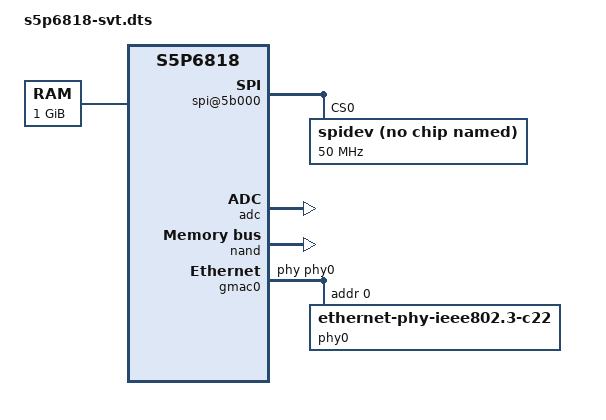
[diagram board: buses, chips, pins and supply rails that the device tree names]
/*
 * s5p6818.dtsi - Device Tree Include file for SLsiAp SoC
 *
 * Copyright 2009 Nexell Co.
 *		http://www.nexell.co.kr
 *
 * Licensed under GPLv2 or later.
 */

#include "s5p6818.dtsi"

#define	UART_CLOCK_FREQUENCY	147500000
#define I2C_CLOCK_FREQUENCY		100000000
#define SPI_CLOCK_FREQUENCY		100000000
#define GMAC_CLOCK_FREQUENCY	200000000

/ {
	memory {
		reg = <0x40000000 0x40000000>;
	};

	soc {

		clocks {
			uart0:uart@a9000 { clock-frequency = <UART_CLOCK_FREQUENCY>; };
			uart1:uart@a8000 { clock-frequency = <UART_CLOCK_FREQUENCY>; };
			uart2:uart@aa000 { clock-frequency = <UART_CLOCK_FREQUENCY>; };
			uart3:uart@ab000 { clock-frequency = <UART_CLOCK_FREQUENCY>; };
			uart4:uart@6e000 { clock-frequency = <UART_CLOCK_FREQUENCY>; };
			uart5:uart@84000 { clock-frequency = <UART_CLOCK_FREQUENCY>; };
			i2c0:i2c@ae000 { clock-frequency = <I2C_CLOCK_FREQUENCY>; };
			i2c1:i2c@af000 { clock-frequency = <I2C_CLOCK_FREQUENCY>; };
			i2c2:i2c@b0000 { clock-frequency = <I2C_CLOCK_FREQUENCY>; };
			spi0:spi@ac000 { clock-frequency = <SPI_CLOCK_FREQUENCY>; };
			spi1:spi@ad000 { clock-frequency = <SPI_CLOCK_FREQUENCY>; };
			spi2:spi@a7000 { clock-frequency = <SPI_CLOCK_FREQUENCY>; };
			gmac:gmac@c8000  { clock-frequency = <GMAC_CLOCK_FREQUENCY>; };
		};

		#include "s5p6818-svt-pin.dtsi"

		serial@a1000 {
			enable_dma = <1>;
		};

		serial@a0000 {
			enable_dma = <1>;
		};
		
		spi@5b000 {
			num_cs = <1>;
			clk_nr = <0>;
			
			
			spidev@0 {
				compatible = "spidev";
				reg = <0 0>;							
				spi-max-frequency = < 50000000 >;
				controller-data {
					spi-cs-gpio = <10>;
					spi-feedback-delay = <02>;
				};
			};
				
		};
		spi@5c000 {
			num_cs = <1>;
			clk_nr = <0>;
		};
		spi@5f000 {
			num_cs = <1>;
			clk_nr = <0>;
		};

		rtc@10c00 {
			status = "okay";
		};

		wdt@19000 {
			status = "okay";
		};

		ppm@54000 {
			status = "okay";
		};

		adc:adc@53000 {
			status = "okay";
		};

		nand:nand@51000 {
			nand-bus-width = <8>;
			nand-ecc-mode = "hw";
			/*nand-on-flash-bbt = <1>;*/

			nand-tacs = <0x0>;						/* unit: bclk cycle */
			nand-tcah = <0x0>;
			nand-tcos = <0xf>;
			nand-tcoh = <0xf>;
			nand-tacc = <0x3f>;
			nand-ecc-bytes = <1024>;
			nand-ecc-bits = <40>;
			wp-gpio = <91>;							/* GPIO_C27 */
			status = "okay";
		};

		gmac0:ethernet@60000 {
			phy = <&phy0>;
			status = "okay";
			#address-cells = <0x1>;
			#size-cells = <0x0>;
			phy-addr = <3>;
			probed-phy-irq = <(IRQ_GPIO_A_START+9)>;
			phy0:ethernet-phy@0 {
				compatible = "ethernet-phy-ieee802.3-c22";
				/*max-speed = <1000>;*/
				/*linux,phandle = <2452000>;*/
				/*interrupt-parent = <40000>;*/
				/*interrupts = <(IRQ_GPIO_A_START+9) 0>;*/
				reg = <0>;
				device_type = "ethernet-phy";
			};
		};

	};
};
